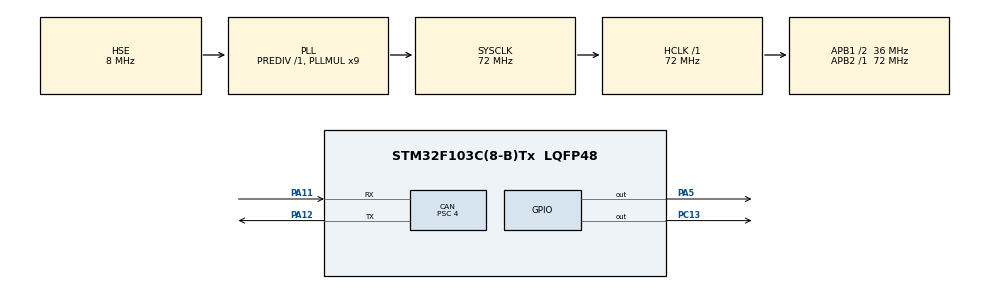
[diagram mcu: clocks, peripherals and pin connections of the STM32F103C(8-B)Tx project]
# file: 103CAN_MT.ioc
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CAN.BS1=CAN_BS1_15TQ
CAN.BS2=CAN_BS2_2TQ
CAN.CalculateBaudRate=500000
CAN.CalculateTimeBit=2000
CAN.CalculateTimeQuantum=111.11111111111111
CAN.Prescaler=4
Mcu.Family=STM32F1
Mcu.Name=STM32F103C(8-B)Tx
Mcu.Package=LQFP48
NVIC.CAN1_RX1_IRQn=true\:0\:0\:false\:true\:true\:1\:true\:true\:true
NVIC.PriorityGroup=NVIC_PRIORITYGROUP_4
PA11.Mode=CAN_Activate
PA11.Signal=CAN_RX
PA12.Mode=CAN_Activate
PA12.Signal=CAN_TX
PA13.Mode=Serial_Wire
PA13.Signal=SYS_JTMS-SWDIO
PA14.Mode=Serial_Wire
PA14.Signal=SYS_JTCK-SWCLK
PA5.Signal=GPIO_Output
PC13-TAMPER-RTC.Signal=GPIO_Output
PD0-OSC_IN.Mode=HSE-External-Oscillator
PD0-OSC_IN.Signal=RCC_OSC_IN
PD1-OSC_OUT.Mode=HSE-External-Oscillator
PD1-OSC_OUT.Signal=RCC_OSC_OUT
ProjectManager.HeapSize=0x200
ProjectManager.StackSize=0x400
ProjectManager.TargetToolchain=STM32CubeIDE
RCC.AHBFreq_Value=72000000
RCC.APB1CLKDivider=RCC_HCLK_DIV2
RCC.APB1Freq_Value=36000000
RCC.APB1TimFreq_Value=72000000
RCC.APB2Freq_Value=72000000
RCC.APB2TimFreq_Value=72000000
RCC.HCLKFreq_Value=72000000
RCC.PLLMUL=RCC_PLL_MUL9
RCC.PLLSourceVirtual=RCC_PLLSOURCE_HSE
RCC.SYSCLKFreq_VALUE=72000000
RCC.SYSCLKSource=RCC_SYSCLKSOURCE_PLLCLK
RCC.USBFreq_Value=72000000
board=custom

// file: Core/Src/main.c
/* USER CODE BEGIN Header */
/**
  ******************************************************************************
  * @file           : main.c
  * @brief          : Main program body
  ******************************************************************************
  * @attention
  *
  * Copyright (c) 2024 STMicroelectronics.
  * All rights reserved.
  *
  * This software is licensed under terms that can be found in the LICENSE file
  * in the root directory of this software component.
  * If no LICENSE file comes with this software, it is provided AS-IS.
  *
  ******************************************************************************
  */
/* USER CODE END Header */
#include "main.h"

CAN_HandleTypeDef hcan;

/* USER CODE BEGIN PV */
CAN_RxHeaderTypeDef RxHeader;

uint8_t RxData[8];

uint32_t TxMailbox;

/* USER CODE END PV */

void SystemClock_Config(void);
static void MX_GPIO_Init(void);
static void MX_CAN_Init(void);
static void MX_NVIC_Init(void);

/* USER CODE BEGIN 0 */

int rain_flag = 0;
void HAL_CAN_RxFifo1MsgPendingCallback(CAN_HandleTypeDef *hcan)
{
	HAL_CAN_GetRxMessage(hcan, CAN_RX_FIFO1, &RxHeader, RxData);

    if (RxHeader.StdId == 0x104) { // manual
        if (RxData[0] == 1) {
            HAL_GPIO_WritePin(GPIOA, GPIO_PIN_5, 1);
        } else if (RxData[0] == 0) {
            HAL_GPIO_WritePin(GPIOA, GPIO_PIN_5, 0);
        }
    }
    else if(RxHeader.StdId == 0x200){ // auto
    	//HAL_GPIO_WritePin(GPIOA, GPIO_PIN_5, 1);
    	HAL_GPIO_TogglePin(GPIOA, GPIO_PIN_5);
    	HAL_GPIO_TogglePin(GPIOC, GPIO_PIN_13);
    }
    else if(RxHeader.StdId == 0x300){
    	rain_flag = RxData[0];
    }
    HAL_CAN_ActivateNotification(&hcan, CAN_IT_RX_FIFO1_MSG_PENDING);
}

/* USER CODE END 0 */

int main(void)
{

  /* MCU Configuration--------------------------------------------------------*/

  /* Reset of all peripherals, Initializes the Flash interface and the Systick. */
  HAL_Init();

  /* Configure the system clock */
  SystemClock_Config();

  /* Initialize all configured peripherals */
  MX_GPIO_Init();
  MX_CAN_Init();

  /* Initialize interrupts */
  MX_NVIC_Init();
  /* USER CODE BEGIN 2 */

  HAL_CAN_Start(&hcan);

  HAL_CAN_ActivateNotification(&hcan, CAN_IT_RX_FIFO1_MSG_PENDING);

  /* USER CODE END 2 */

  /* Infinite loop */
  while (1)
  {

  }
}

void SystemClock_Config(void)
{
  RCC_OscInitTypeDef RCC_OscInitStruct = {0};
  RCC_ClkInitTypeDef RCC_ClkInitStruct = {0};

  /** Initializes the RCC Oscillators according to the specified parameters
  * in the RCC_OscInitTypeDef structure.
  */
  RCC_OscInitStruct.OscillatorType = RCC_OSCILLATORTYPE_HSE;
  RCC_OscInitStruct.HSEState = RCC_HSE_ON;
  RCC_OscInitStruct.HSEPredivValue = RCC_HSE_PREDIV_DIV1;
  RCC_OscInitStruct.HSIState = RCC_HSI_ON;
  RCC_OscInitStruct.PLL.PLLState = RCC_PLL_ON;
  RCC_OscInitStruct.PLL.PLLSource = RCC_PLLSOURCE_HSE;
  RCC_OscInitStruct.PLL.PLLMUL = RCC_PLL_MUL9;
  if (HAL_RCC_OscConfig(&RCC_OscInitStruct) != HAL_OK)
  {
    Error_Handler();
  }

  /** Initializes the CPU, AHB and APB buses clocks
  */
  RCC_ClkInitStruct.ClockType = RCC_CLOCKTYPE_HCLK|RCC_CLOCKTYPE_SYSCLK
                              |RCC_CLOCKTYPE_PCLK1|RCC_CLOCKTYPE_PCLK2;
  RCC_ClkInitStruct.SYSCLKSource = RCC_SYSCLKSOURCE_PLLCLK;
  RCC_ClkInitStruct.AHBCLKDivider = RCC_SYSCLK_DIV1;
  RCC_ClkInitStruct.APB1CLKDivider = RCC_HCLK_DIV2;
  RCC_ClkInitStruct.APB2CLKDivider = RCC_HCLK_DIV1;

  if (HAL_RCC_ClockConfig(&RCC_ClkInitStruct, FLASH_LATENCY_2) != HAL_OK)
  {
    Error_Handler();
  }
}

/**
  * @brief NVIC Configuration.
  * @retval None
  */
static void MX_NVIC_Init(void)
{
  /* CAN1_RX1_IRQn interrupt configuration */
  HAL_NVIC_SetPriority(CAN1_RX1_IRQn, 0, 0);
  HAL_NVIC_EnableIRQ(CAN1_RX1_IRQn);
}

static void MX_CAN_Init(void)
{

  hcan.Instance = CAN1;
  hcan.Init.Prescaler = 4;
  hcan.Init.Mode = CAN_MODE_NORMAL;
  hcan.Init.SyncJumpWidth = CAN_SJW_1TQ;
  hcan.Init.TimeSeg1 = CAN_BS1_15TQ;
  hcan.Init.TimeSeg2 = CAN_BS2_2TQ;
  hcan.Init.TimeTriggeredMode = DISABLE;
  hcan.Init.AutoBusOff = DISABLE;
  hcan.Init.AutoWakeUp = DISABLE;
  hcan.Init.AutoRetransmission = DISABLE;
  hcan.Init.ReceiveFifoLocked = DISABLE;
  hcan.Init.TransmitFifoPriority = DISABLE;
  if (HAL_CAN_Init(&hcan) != HAL_OK)
  {
    Error_Handler();
  }
  /* USER CODE BEGIN CAN_Init 2 */

  CAN_FilterTypeDef canFilter_manu;
  canFilter_manu.FilterActivation = CAN_FILTER_ENABLE;
  canFilter_manu.FilterBank = 10;
  canFilter_manu.FilterFIFOAssignment = CAN_FILTER_FIFO1;
  canFilter_manu.FilterIdHigh = 0x104 << 5;
  canFilter_manu.FilterIdLow = 0;
  canFilter_manu.FilterMaskIdHigh = 0x104 << 5;
  canFilter_manu.FilterMaskIdLow = 0x0000;
  canFilter_manu.FilterMode = CAN_FILTERMODE_IDMASK;
  canFilter_manu.FilterScale = CAN_FILTERSCALE_32BIT;
  canFilter_manu.SlaveStartFilterBank = 0;

  HAL_CAN_ConfigFilter(&hcan, &canFilter_manu);

  CAN_FilterTypeDef canFilter_auto;
  canFilter_auto.FilterActivation = CAN_FILTER_ENABLE;
  canFilter_auto.FilterBank = 9;
  canFilter_auto.FilterFIFOAssignment = CAN_FILTER_FIFO1;
  canFilter_auto.FilterIdHigh = 0x200 << 5;
  canFilter_auto.FilterIdLow = 0;
  canFilter_auto.FilterMaskIdHigh = 0x200 << 5;
  canFilter_auto.FilterMaskIdLow = 0x0000;
  canFilter_auto.FilterMode = CAN_FILTERMODE_IDMASK;
  canFilter_auto.FilterScale = CAN_FILTERSCALE_32BIT;
  canFilter_auto.SlaveStartFilterBank = 0;

  HAL_CAN_ConfigFilter(&hcan, &canFilter_auto);

  CAN_FilterTypeDef canFilter_rain;
  canFilter_rain.FilterActivation = CAN_FILTER_ENABLE;
  canFilter_rain.FilterBank = 8;
  canFilter_rain.FilterFIFOAssignment = CAN_FILTER_FIFO1;
  canFilter_rain.FilterIdHigh = 0x300 << 5;
  canFilter_rain.FilterIdLow = 0;
  canFilter_rain.FilterMaskIdHigh = 0x300 << 5;
  canFilter_rain.FilterMaskIdLow = 0x0000;
  canFilter_rain.FilterMode = CAN_FILTERMODE_IDMASK;
  canFilter_rain.FilterScale = CAN_FILTERSCALE_32BIT;
  canFilter_rain.SlaveStartFilterBank = 0;

    HAL_CAN_ConfigFilter(&hcan, &canFilter_rain);

  /* USER CODE END CAN_Init 2 */

}

static void MX_GPIO_Init(void)
{
  GPIO_InitTypeDef GPIO_InitStruct = {0};

  /* GPIO Ports Clock Enable */
  __HAL_RCC_GPIOC_CLK_ENABLE();
  __HAL_RCC_GPIOD_CLK_ENABLE();
  __HAL_RCC_GPIOA_CLK_ENABLE();

  /*Configure GPIO pin Output Level */
  HAL_GPIO_WritePin(GPIOC, GPIO_PIN_13, GPIO_PIN_RESET);

  /*Configure GPIO pin Output Level */
  HAL_GPIO_WritePin(GPIOA, GPIO_PIN_5, GPIO_PIN_RESET);

  /*Configure GPIO pin : PC13 */
  GPIO_InitStruct.Pin = GPIO_PIN_13;
  GPIO_InitStruct.Mode = GPIO_MODE_OUTPUT_PP;
  GPIO_InitStruct.Pull = GPIO_NOPULL;
  GPIO_InitStruct.Speed = GPIO_SPEED_FREQ_LOW;
  HAL_GPIO_Init(GPIOC, &GPIO_InitStruct);

  /*Configure GPIO pin : PA5 */
  GPIO_InitStruct.Pin = GPIO_PIN_5;
  GPIO_InitStruct.Mode = GPIO_MODE_OUTPUT_PP;
  GPIO_InitStruct.Pull = GPIO_NOPULL;
  GPIO_InitStruct.Speed = GPIO_SPEED_FREQ_LOW;
  HAL_GPIO_Init(GPIOA, &GPIO_InitStruct);

}

void Error_Handler(void)
{
  __disable_irq();
  while (1)
  {
  }
}
